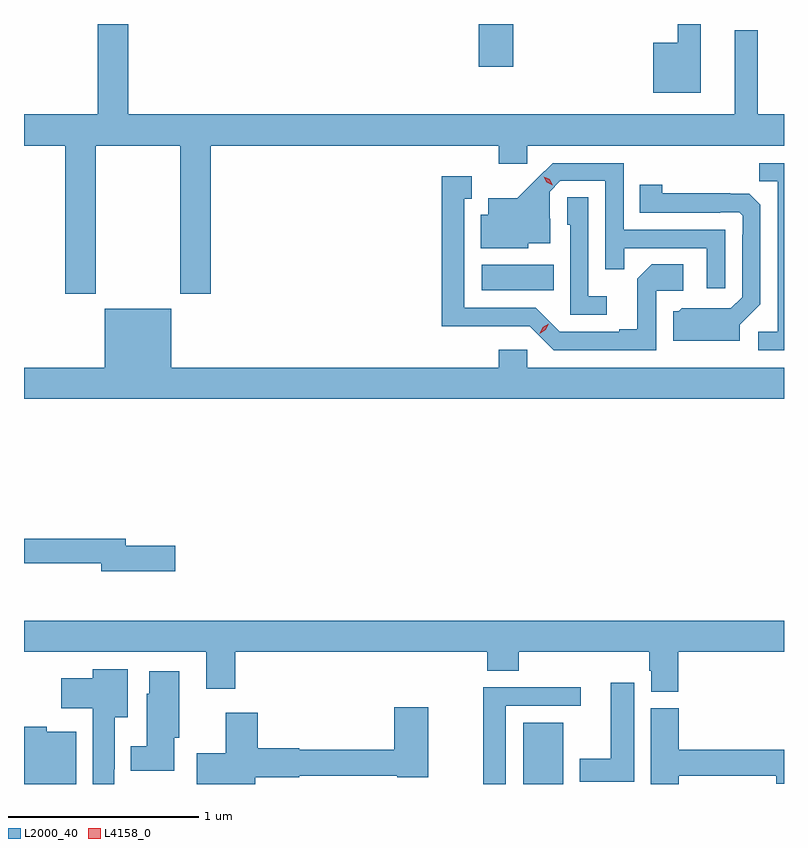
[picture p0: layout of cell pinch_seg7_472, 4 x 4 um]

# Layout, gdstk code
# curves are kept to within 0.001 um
import gdstk
lib = gdstk.Library(unit=1e-6, precision=1e-09)
def R(c, l, rs):  # rectangles x0, y0, x1, y1
    for r in rs: c.add(gdstk.rectangle(r[:2], r[2:], *l))
def P(c, l, *ps):  # polygons
    for p in ps: c.add(gdstk.Polygon(p, *l))
L2000_40 = (2000, 40)
L4158_0 = (4158, 0)

pinch_seg7_472 = lib.new_cell('pinch_seg7_472')
R(pinch_seg7_472, L2000_40, [(180.218,1062.524,180.43,1062.847), (180,1065.122,180.38,1065.256), (179.984,1066.299,180.167,1066.524)])
P(pinch_seg7_472, L2000_40, [(178.139,1066.524),(177.979,1066.524),(177.979,1066.048),(177.591,1066.048),(177.591,1065.884),(177.809,1065.884),(177.809,1065.105),(177.969,1065.105),(177.969,1065.884),(178.414,1065.884),(178.414,1065.105),(178.574,1065.105),(178.574,1065.884),(180.089,1065.884),(180.089,1065.789),(180.24,1065.789),(180.24,1065.884),(181.591,1065.884),(181.591,1066.048),(181.453,1066.048),(181.453,1066.492),(181.331,1066.492),(181.331,1066.048),(178.139,1066.048)],
  [(181.153,1066.524),(181.032,1066.524),(181.032,1066.426),(180.902,1066.426),(180.902,1066.163),(181.153,1066.163)],
  [(181.591,1065.792),(181.462,1065.792),(181.462,1065.697),(181.557,1065.697),(181.557,1064.904),(181.455,1064.904),(181.455,1064.808),(181.591,1064.808)],
  [(181.281,1065.441),(180.747,1065.441),(180.747,1065.792),(180.374,1065.792),(180.187,1065.607),(180.035,1065.607),(180.035,1065.52),(179.996,1065.52),(179.996,1065.344),(180.246,1065.344),(180.246,1065.371),(180.361,1065.371),(180.361,1065.5),(180.357,1065.5),(180.357,1065.642),(180.414,1065.699),(180.651,1065.699),(180.651,1065.232),(180.749,1065.232),(180.749,1065.345),(181.185,1065.345),(181.185,1065.132),(181.281,1065.132)],
  [(180.918,1065.12),(181.06,1065.12),(181.06,1065.26),(180.895,1065.26),(180.819,1065.184),(180.819,1064.917),(180.725,1064.917),(180.725,1064.904),(180.411,1064.904),(180.285,1065.03),(179.908,1065.03),(179.908,1065.603),(179.947,1065.603),(179.947,1065.724),(179.79,1065.724),(179.79,1064.933),(180.252,1064.934),(180.378,1064.808),(180.918,1064.808)],
  [(181.357,1064.94),(181.467,1065.05),(181.467,1065.572),(181.408,1065.631),(180.951,1065.632),(180.951,1065.679),(180.832,1065.679),(180.832,1065.531),(181.256,1065.531),(181.256,1065.534),(181.356,1065.534),(181.374,1065.516),(181.374,1065.416),(181.371,1065.416),(181.371,1065.087),(181.311,1065.027),(181.054,1065.028),(181.038,1065.012),(181.007,1065.012),(181.007,1064.858),(181.357,1064.858)],
  [(180.658,1065.091),(180.561,1065.091),(180.561,1065.611),(180.45,1065.611),(180.45,1065.468),(180.465,1065.468),(180.465,1064.994),(180.658,1064.994)],
  [(181.591,1064.716),(180.24,1064.716),(180.24,1064.809),(180.089,1064.809),(180.089,1064.716),(178.366,1064.716),(178.366,1065.025),(178.016,1065.025),(178.016,1064.716),(177.591,1064.716),(177.591,1064.552),(181.591,1064.552)],
  [(178.387,1063.778),(178.126,1063.778),(178.126,1063.814),(177.591,1063.814),(177.591,1063.686),(177.998,1063.686),(177.998,1063.643),(178.387,1063.643)],
  [(181.034,1063.22),(181.591,1063.22),(181.591,1063.384),(177.591,1063.384),(177.591,1063.22),(178.55,1063.22),(178.55,1063.026),(178.703,1063.026),(178.703,1063.22),(180.029,1063.22),(180.029,1063.121),(180.194,1063.121),(180.194,1063.22),(180.881,1063.22),(180.881,1063.119),(180.893,1063.119),(180.893,1063.009),(181.034,1063.009)],
  [(178.065,1062.601),(178.069,1062.601),(178.069,1062.875),(178.138,1062.875),(178.138,1063.129),(177.953,1063.129),(177.953,1063.081),(177.786,1063.081),(177.786,1062.923),(177.953,1062.923),(177.953,1062.524),(178.065,1062.524)],
  [(178.381,1062.768),(178.408,1062.768),(178.408,1063.117),(178.25,1063.117),(178.25,1062.999),(178.238,1062.999),(178.238,1062.724),(178.154,1062.724),(178.154,1062.593),(178.381,1062.593)],
  [(180.802,1063.057),(180.68,1063.057),(180.68,1062.658),(180.515,1062.658),(180.515,1062.536),(180.802,1062.536)],
  [(180.127,1062.936),(180.52,1062.936),(180.52,1063.034),(180.007,1063.034),(180.007,1062.524),(180.127,1062.524)],
  [(178.807,1062.56),(179.04,1062.56),(179.04,1062.568),(179.556,1062.568),(179.556,1062.56),(179.718,1062.56),(179.718,1062.928),(179.54,1062.928),(179.54,1062.704),(179.04,1062.704),(179.04,1062.712),(178.82,1062.712),(178.82,1062.898),(178.652,1062.898),(178.652,1062.687),(178.5,1062.687),(178.5,1062.524),(178.807,1062.524)],
  [(181.037,1062.568),(181.55,1062.568),(181.55,1062.526),(181.591,1062.526),(181.591,1062.704),(181.037,1062.704),(181.037,1062.924),(180.89,1062.924),(180.89,1062.524),(181.037,1062.524)],
  [(177.865,1062.799),(177.711,1062.799),(177.711,1062.826),(177.591,1062.826),(177.591,1062.524),(177.865,1062.524)])
P(pinch_seg7_472, L4158_0, [(180.374,1065.676),(180.343,1065.691),(180.326,1065.721),(180.326,1065.721),(180.327,1065.721),(180.357,1065.706),(180.374,1065.676),(180.374,1065.676)],
  [(180.305,1064.895),(180.305,1064.895),(180.322,1064.928),(180.354,1064.947),(180.354,1064.947),(180.354,1064.947),(180.337,1064.914),(180.306,1064.895)])

lib.write_gds('pinch_seg7_472.gds')
